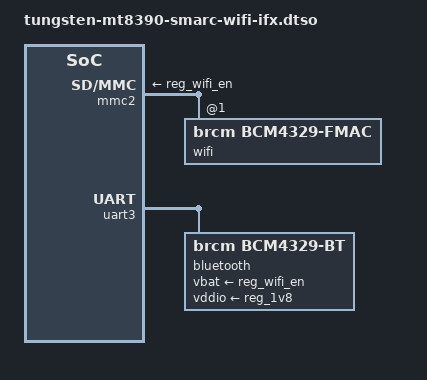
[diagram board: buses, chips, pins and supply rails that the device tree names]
// SPDX-License-Identifier: (GPL-2.0+ OR MIT)
/*
 * On-board SDIO LWBxx & IFxxx module
 */

/dts-v1/;
/plugin/;

&reg_wifi_en {
	startup-delay-us = <250000>;
	off-on-delay-us = <100>;
};

&mmc2 {
	status = "okay";
	vmmc-supply = <&reg_wifi_en>;
	#address-cells = <1>;
	#size-cells = <0>;

	wifi@1 {
		reg = <1>;
		compatible = "brcm,bcm4329-fmac";
	};
};

&uart3 {
	status = "okay";

	bluetooth {
		compatible = "brcm,bcm4329-bt";
		vbat-supply = <&reg_wifi_en>;
		vddio-supply = <&reg_1v8>;
		brcm,requires-autobaud-mode;
		max-speed = <3000000>;
	};
};
